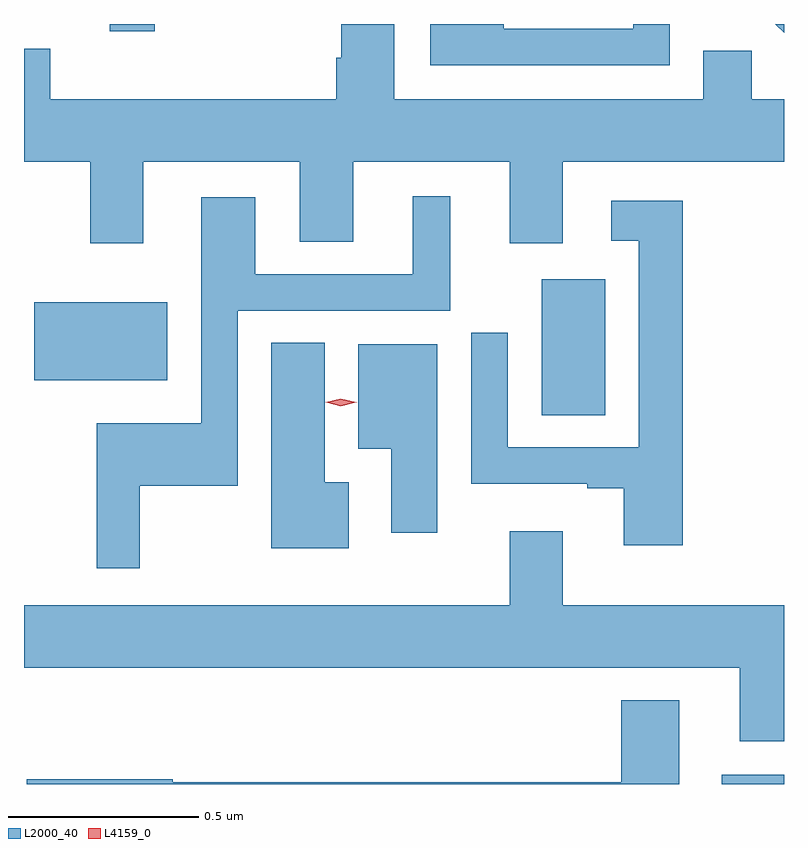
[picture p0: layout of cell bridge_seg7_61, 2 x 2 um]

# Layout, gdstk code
import gdstk
lib = gdstk.Library(unit=1e-6, precision=1e-09)
def R(c, l, rs):  # rectangles x0, y0, x1, y1
    for r in rs: c.add(gdstk.rectangle(r[:2], r[2:], *l))
def P(c, l, *ps):  # polygons
    for p in ps: c.add(gdstk.Polygon(p, *l))
L2000_40 = (2000, 40)
L4159_0 = (4159, 0)

bridge_seg7_61 = lib.new_cell('bridge_seg7_61')
R(bridge_seg7_61, L2000_40, [(898.877,1001.642,899.041,1001.667), (898.403,1002.613,898.57,1002.97), (897.068,1002.704,897.418,1002.91), (897.267,1003.623,897.385,1003.642)])
P(bridge_seg7_61, L2000_40, [(897.355,1003.28),(897.767,1003.28),(897.767,1003.069),(897.907,1003.069),(897.907,1003.28),(898.319,1003.28),(898.319,1003.065),(898.459,1003.065),(898.459,1003.28),(899.041,1003.28),(899.041,1003.444),(898.956,1003.444),(898.956,1003.571),(898.829,1003.571),(898.829,1003.444),(898.015,1003.444),(898.015,1003.642),(897.876,1003.642),(897.876,1003.553),(897.863,1003.553),(897.863,1003.444),(897.11,1003.444),(897.11,1003.577),(897.041,1003.577),(897.041,1003.28),(897.215,1003.28),(897.215,1003.065),(897.355,1003.065)],
  [(898.74,1003.642),(898.644,1003.642),(898.644,1003.629),(898.303,1003.629),(898.303,1003.642),(898.11,1003.642),(898.11,1003.533),(898.74,1003.533)],
  [(899.041,1003.642),(899.018,1003.642),(899.041,1003.619)],
  [(897.346,1002.427),(897.603,1002.427),(897.603,1002.888),(898.163,1002.888),(898.163,1003.189),(898.064,1003.189),(898.064,1002.984),(897.649,1002.984),(897.649,1003.186),(897.507,1003.186),(897.507,1002.592),(897.232,1002.592),(897.232,1002.21),(897.346,1002.21)],
  [(898.775,1003.177),(898.587,1003.177),(898.587,1003.071),(898.659,1003.071),(898.659,1002.528),(898.314,1002.528),(898.314,1002.829),(898.218,1002.829),(898.218,1002.432),(898.523,1002.432),(898.523,1002.42),(898.619,1002.42),(898.619,1002.27),(898.775,1002.27)],
  [(897.895,1002.436),(897.832,1002.436),(897.832,1002.803),(897.692,1002.803),(897.692,1002.263),(897.895,1002.263)],
  [(898.129,1002.799),(897.92,1002.799),(897.92,1002.524),(898.007,1002.524),(898.007,1002.303),(898.129,1002.303)],
  [(899.041,1002.112),(898.459,1002.112),(898.459,1002.307),(898.319,1002.307),(898.319,1002.112),(897.041,1002.112),(897.041,1001.948),(898.925,1001.948),(898.925,1001.754),(899.041,1001.754)],
  [(898.765,1001.863),(898.613,1001.863),(898.613,1001.647),(897.432,1001.647),(897.432,1001.655),(897.048,1001.655),(897.048,1001.642),(898.765,1001.642)])
P(bridge_seg7_61, L4159_0, [(897.875,1002.636),(897.835,1002.646),(897.834,1002.646),(897.835,1002.646),(897.875,1002.656),(897.915,1002.646),(897.916,1002.646),(897.915,1002.646)])

lib.write_gds('bridge_seg7_61.gds')
